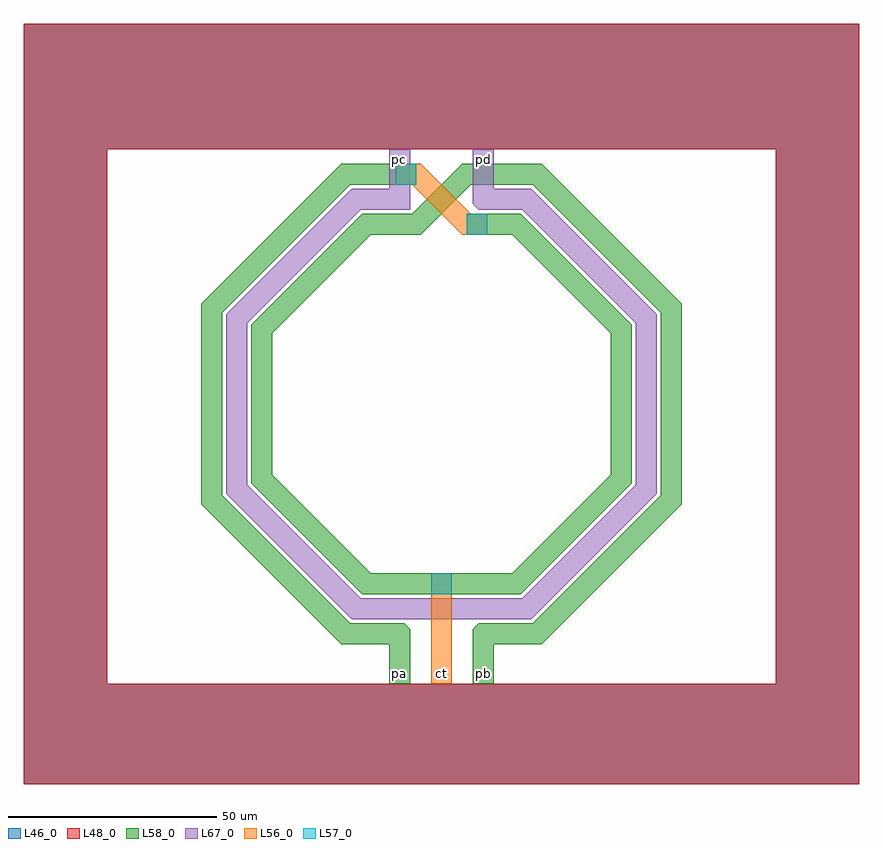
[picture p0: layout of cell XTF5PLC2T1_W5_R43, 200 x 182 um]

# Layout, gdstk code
import gdstk
lib = gdstk.Library(unit=1e-6, precision=1e-09)
def R(c, l, rs):  # rectangles x0, y0, x1, y1
    for r in rs: c.add(gdstk.rectangle(r[:2], r[2:], *l))
def P(c, l, *ps):  # polygons
    for p in ps: c.add(gdstk.Polygon(p, *l))
L46_0 = (46, 0)
L48_0 = (48, 0)
L56_0 = (56, 0)
L57_0 = (57, 0)
L58_0 = (58, 0)
L67_0 = (67, 0)

xtf5plc2t1_w5_r43 = lib.new_cell('XTF5PLC2T1_W5_R43')
P(xtf5plc2t1_w5_r43, L46_0, [(100,-91),(-100,-91),(-100,91),(80,91),(80,61),(-80,61),(-80,-67),(80,-67),(80,91),(100,91)])
P(xtf5plc2t1_w5_r43, L48_0, [(100,-91),(-100,-91),(-100,91),(80,91),(80,61),(-80,61),(-80,-67),(80,-67),(80,91),(100,91)])
R(xtf5plc2t1_w5_r43, L56_0, [(-2.5,-67,2.5,-40.5), (-2.5,-67,2.5,-62)])
P(xtf5plc2t1_w5_r43, L56_0, [(11,40.5),(4.965,40.5),(-7.035,52.5),(-11,52.5),(-11,57.5),(-4.965,57.5),(7.035,45.5),(11,45.5)])
R(xtf5plc2t1_w5_r43, L57_0, [(-2.5,-45.5,2.5,-40.5), (6,40.5,11,45.5), (-11,52.5,-6,57.5)])
R(xtf5plc2t1_w5_r43, L58_0, [(-12.5,-67,-7.5,-62), (7.5,-67,12.5,-62)])
P(xtf5plc2t1_w5_r43, L58_0, [(-6,52.5),(-21.89,52.5),(-52.5,21.89),(-52.5,-21.89),(-21.89,-52.5),(-8.965,-52.5),(-7.5,-53.965),(-7.5,-67),(-12.5,-67),(-12.5,-57.5),(-23.96,-57.5),(-57.5,-23.96),(-57.5,23.96),(-23.96,57.5),(-6,57.5)],
  [(57.5,-23.96),(23.96,-57.5),(12.5,-57.5),(12.5,-67),(7.5,-67),(7.5,-53.965),(8.965,-52.5),(21.89,-52.5),(52.5,-21.89),(52.5,21.89),(21.89,52.5),(7.035,52.5),(-4.965,40.5),(-16.885,40.5),(-40.5,16.885),(-40.5,-16.885),(-16.885,-40.5),(16.885,-40.5),(40.5,-16.885),(40.5,16.885),(16.885,40.5),(6,40.5),(6,45.5),(18.955,45.5),(45.5,18.955),(45.5,-18.955),(18.955,-45.5),(-18.955,-45.5),(-45.5,-18.955),(-45.5,18.955),(-18.955,45.5),(-7.035,45.5),(4.965,57.5),(23.96,57.5),(57.5,23.96)])
R(xtf5plc2t1_w5_r43, L67_0, [(-12.5,56,-7.5,61), (7.5,56,12.5,61)])
P(xtf5plc2t1_w5_r43, L67_0, [(51.5,-21.46),(21.46,-51.5),(-21.46,-51.5),(-51.5,-21.46),(-51.5,21.46),(-21.46,51.5),(-12.5,51.5),(-12.5,61),(-7.5,61),(-7.5,46.5),(-19.39,46.5),(-46.5,19.39),(-46.5,-19.39),(-19.39,-46.5),(19.39,-46.5),(46.5,-19.39),(46.5,19.39),(19.39,46.5),(8.965,46.5),(7.5,47.965),(7.5,61),(12.5,61),(12.5,51.5),(21.46,51.5),(51.5,21.46)])
xtf5plc2t1_w5_r43.add(gdstk.Label('pb', (10,-64.5), layer=58, texttype=0))
xtf5plc2t1_w5_r43.add(gdstk.Label('pa', (-10,-64.5), layer=58, texttype=0))
xtf5plc2t1_w5_r43.add(gdstk.Label('pd', (10,58.5), layer=67, texttype=0))
xtf5plc2t1_w5_r43.add(gdstk.Label('pc', (-10,58.5), layer=67, texttype=0))
xtf5plc2t1_w5_r43.add(gdstk.Label('ct', (0,-64.5), layer=56, texttype=0))

lib.write_gds('XTF5PLC2T1_W5_R43.gds')
